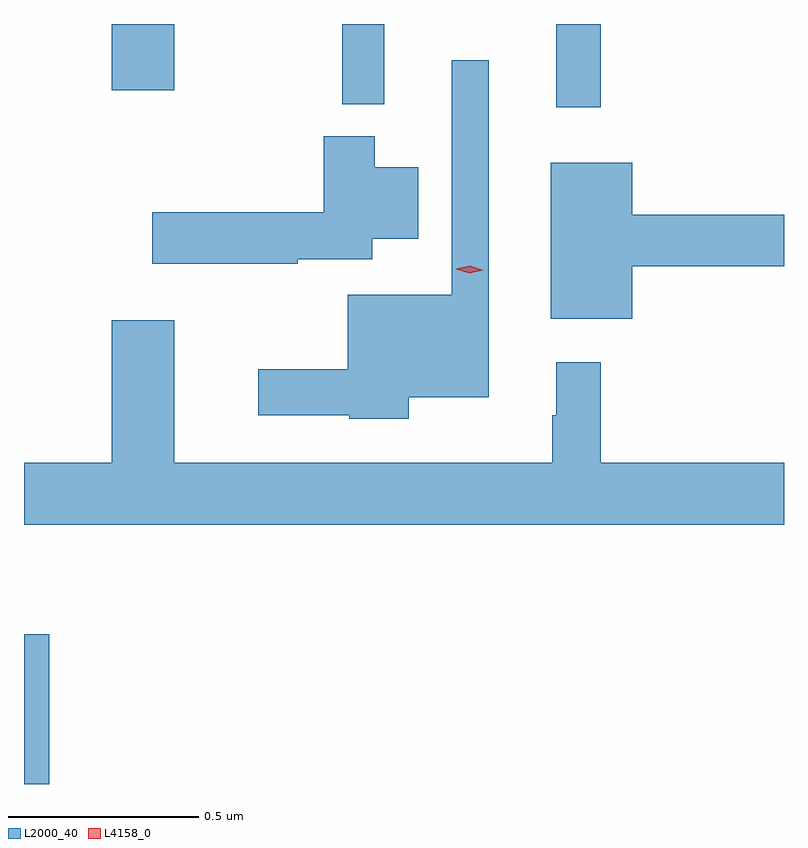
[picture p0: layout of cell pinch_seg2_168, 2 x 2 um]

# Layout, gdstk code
import gdstk
lib = gdstk.Library(unit=1e-6, precision=1e-09)
def R(c, l, rs):  # rectangles x0, y0, x1, y1
    for r in rs: c.add(gdstk.rectangle(r[:2], r[2:], *l))
def P(c, l, *ps):  # polygons
    for p in ps: c.add(gdstk.Polygon(p, *l))
L2000_40 = (2000, 40)
L4158_0 = (4158, 0)

pinch_seg2_168 = lib.new_cell('pinch_seg2_168')
R(pinch_seg2_168, L2000_40, [(1123.817,628.306,1123.883,628.7), (1125.218,630.087,1125.335,630.306), (1124.655,630.095,1124.765,630.306), (1124.048,630.132,1124.212,630.306)])
P(pinch_seg2_168, L2000_40, [(1124.829,629.324),(1125.04,629.324),(1125.04,630.211),(1124.943,630.211),(1124.943,629.593),(1124.669,629.593),(1124.669,629.398),(1124.433,629.398),(1124.433,629.276),(1124.673,629.276),(1124.673,629.267),(1124.829,629.267)],
  [(1124.538,629.687),(1124.734,629.687),(1124.734,629.741),(1124.854,629.741),(1124.854,629.929),(1124.74,629.929),(1124.74,630.01),(1124.606,630.01),(1124.606,629.81),(1124.154,629.81),(1124.154,629.675),(1124.538,629.675)],
  [(1125.418,629.668),(1125.817,629.668),(1125.817,629.804),(1125.418,629.804),(1125.418,629.941),(1125.203,629.941),(1125.203,629.531),(1125.418,629.531)],
  [(1125.817,629.152),(1125.335,629.152),(1125.335,629.416),(1125.218,629.416),(1125.218,629.276),(1125.207,629.276),(1125.207,629.152),(1124.212,629.152),(1124.212,629.527),(1124.048,629.527),(1124.048,629.152),(1123.817,629.152),(1123.817,628.988),(1125.817,628.988)])
P(pinch_seg2_168, L4158_0, [(1124.989,629.65),(1124.954,629.661),(1124.954,629.662),(1124.954,629.662),(1124.99,629.67),(1125.025,629.658),(1125.025,629.658),(1125.025,629.658)])

lib.write_gds('pinch_seg2_168.gds')
